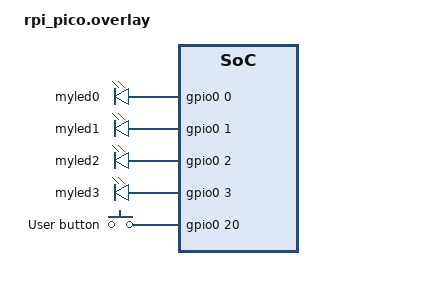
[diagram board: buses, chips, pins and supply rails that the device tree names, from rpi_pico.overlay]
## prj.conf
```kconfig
CONFIG_GPIO=y
CONFIG_NEWLIB_LIBC=y
CONFIG_NEWLIB_LIBC_FLOAT_PRINTF=y
```

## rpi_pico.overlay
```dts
/ {
     aliases{
            led0 = &myled0;
            led1 = &myled1;
            led2 = &myled2;
            led3 = &myled3;
            button0 = &mybutton0;
     };

        leds {
            compatible = "gpio-leds";
            myled0: led0 {
                    gpios = <&gpio0 0 GPIO_ACTIVE_HIGH>;
             };
            myled1: led1 {
                    gpios = <&gpio0 1 GPIO_ACTIVE_HIGH>;
            };
            myled2: led2 {
                    gpios = <&gpio0 2 GPIO_ACTIVE_HIGH>;
            };
            myled3: led3 {
                    gpios = <&gpio0 3 GPIO_ACTIVE_HIGH>;
            };
        };

        buttons {
             compatible = "gpio-keys";
             mybutton0: button0 {
                     gpios = < &gpio0 20 GPIO_ACTIVE_HIGH>;
                     label = "User button";
             };
     };
};
```

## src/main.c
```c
#include <zephyr/kernel.h>
#include <zephyr/drivers/gpio.h>
#include <stdio.h>


#define DELAY_400       200
#define STACK_SIZE      500 


#define PRIO_Button 4
#define PRIO_Blinky 5


#define LED0_NODE   DT_ALIAS(led0) 
#define LED1_NODE   DT_ALIAS(led1)
#define LED2_NODE   DT_ALIAS(led2)
#define LED3_NODE   DT_ALIAS(led3)
#define BUTTON0_NODE DT_ALIAS(button0)



struct gpio_dt_spec led0    = GPIO_DT_SPEC_GET(LED0_NODE, gpios); 
struct gpio_dt_spec led1    = GPIO_DT_SPEC_GET(LED1_NODE, gpios); 
struct gpio_dt_spec led2    = GPIO_DT_SPEC_GET(LED2_NODE, gpios);
struct gpio_dt_spec led3    = GPIO_DT_SPEC_GET(LED3_NODE, gpios); 
struct gpio_dt_spec button0 = GPIO_DT_SPEC_GET(BUTTON0_NODE, gpios);


volatile int current_led = 0;
K_SEM_DEFINE(led_sem, 0, 1);
K_MUTEX_DEFINE(led_mutex);

static struct gpio_callback btn_cb_data;
void button_isr()
{
    k_sem_give(&led_sem);
}
void init() {
    /* Configures LED and button */
    gpio_pin_configure_dt(&led0, GPIO_OUTPUT_ACTIVE);
    gpio_pin_configure_dt(&led1, GPIO_OUTPUT_ACTIVE);
    gpio_pin_configure_dt(&led2, GPIO_OUTPUT_ACTIVE);
    gpio_pin_configure_dt(&led3, GPIO_OUTPUT_ACTIVE);

    gpio_pin_configure_dt(&button0, GPIO_INPUT);

    /* Registers interrupt on edge to active level */
    gpio_pin_interrupt_configure_dt(&button0, GPIO_INT_EDGE_TO_ACTIVE);
    /* Initializes callback struct with ISR and the pins on which ISR should trigger  */
    gpio_init_callback(&btn_cb_data, button_isr, BIT(button0.pin));
    /* Adds ISR callback to the device */
    gpio_add_callback_dt(&button0, &btn_cb_data);

    struct k_mutex led_mutex;
    k_mutex_init(&led_mutex);
}




void blinky_task()
{
    init();
    int local_led = 0;
	for(;;)
    {
        // lock mutex
        k_mutex_lock(&led_mutex, K_FOREVER);
        local_led = current_led;
        k_mutex_unlock(&led_mutex);  // unlock mutex
        
        switch(local_led)
        {
            case 0:
                
                gpio_pin_toggle_dt(&led0);
                k_msleep(DELAY_400);
                break;
            case 1:

                gpio_pin_toggle_dt(&led1);
                k_msleep(DELAY_400);
                break;
                
            case 2:
                gpio_pin_toggle_dt(&led2);
                k_msleep(DELAY_400);
                break;
                
            case 3:
    
                gpio_pin_toggle_dt(&led3);
                k_msleep(DELAY_400);
                break;
                
        }
    }
}

void button_task()
{   
    int local_led = 0;

    for (;;) {
        /* Wait until semaphore is given by ISR (meaning button is pressed), 
        take semaphore and toggle LED*/
        k_sem_take(&led_sem, K_FOREVER);

        // lock mutex

        local_led = current_led;
        // unlock mutex

        if (local_led == 3)
        {
            local_led = 0;
        }
        else
        {
            local_led++;
        }

        k_mutex_lock(&led_mutex, K_FOREVER);
        //printf("Button pressed, changing LED to %d\n", local_led);
       
        current_led = local_led;
        k_mutex_unlock(&led_mutex);
    }
}

K_THREAD_DEFINE(blinky, STACK_SIZE, blinky_task, NULL, NULL, NULL, PRIO_Blinky, 0, 0);
K_THREAD_DEFINE(button, STACK_SIZE, button_task, NULL, NULL, NULL, PRIO_Button, 0, 0);
```
